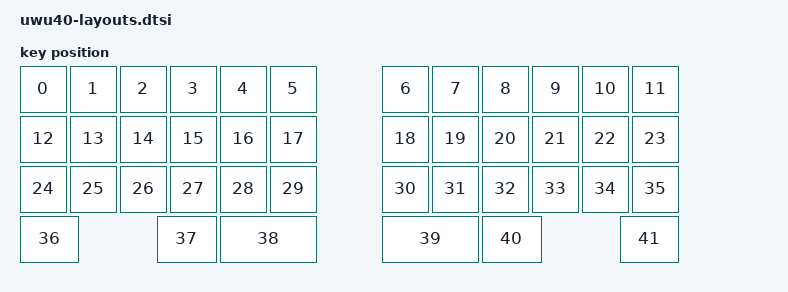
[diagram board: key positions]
#include <physical_layouts.dtsi>

/ {
  chosen {
    zmk,physical-layout = &default_layout;
  };

  default_layout: layout {
    compatible = "zmk,physical-layout";
    display-name = "UwU40";
    transform = <&default_transform>;
        keys  //                     w   h    x    y     rot    rx    ry
            = <&key_physical_attrs 100 100    0    0       0     0     0>
            , <&key_physical_attrs 100 100  100    0       0     0     0>
            , <&key_physical_attrs 100 100  200    0       0     0     0>
            , <&key_physical_attrs 100 100  300    0       0     0     0>
            , <&key_physical_attrs 100 100  400    0       0     0     0>
            , <&key_physical_attrs 100 100  500    0       0     0     0>
            , <&key_physical_attrs 100 100  725    0       0     0     0>
            , <&key_physical_attrs 100 100  825    0       0     0     0>
            , <&key_physical_attrs 100 100  925    0       0     0     0>
            , <&key_physical_attrs 100 100 1025    0       0     0     0>
            , <&key_physical_attrs 100 100 1125    0       0     0     0>
            , <&key_physical_attrs 100 100 1225    0       0     0     0>
            , <&key_physical_attrs 100 100    0  100       0     0     0>
            , <&key_physical_attrs 100 100  100  100       0     0     0>
            , <&key_physical_attrs 100 100  200  100       0     0     0>
            , <&key_physical_attrs 100 100  300  100       0     0     0>
            , <&key_physical_attrs 100 100  400  100       0     0     0>
            , <&key_physical_attrs 100 100  500  100       0     0     0>
            , <&key_physical_attrs 100 100  725  100       0     0     0>
            , <&key_physical_attrs 100 100  825  100       0     0     0>
            , <&key_physical_attrs 100 100  925  100       0     0     0>
            , <&key_physical_attrs 100 100 1025  100       0     0     0>
            , <&key_physical_attrs 100 100 1125  100       0     0     0>
            , <&key_physical_attrs 100 100 1225  100       0     0     0>
            , <&key_physical_attrs 100 100    0  200       0     0     0>
            , <&key_physical_attrs 100 100  100  200       0     0     0>
            , <&key_physical_attrs 100 100  200  200       0     0     0>
            , <&key_physical_attrs 100 100  300  200       0     0     0>
            , <&key_physical_attrs 100 100  400  200       0     0     0>
            , <&key_physical_attrs 100 100  500  200       0     0     0>
            , <&key_physical_attrs 100 100  725  200       0     0     0>
            , <&key_physical_attrs 100 100  825  200       0     0     0>
            , <&key_physical_attrs 100 100  925  200       0     0     0>
            , <&key_physical_attrs 100 100 1025  200       0     0     0>
            , <&key_physical_attrs 100 100 1125  200       0     0     0>
            , <&key_physical_attrs 100 100 1225  200       0     0     0>
            , <&key_physical_attrs 125 100    0  300       0     0     0>
            , <&key_physical_attrs 125 100  275  300       0     0     0>
            , <&key_physical_attrs 200 100  400  300       0     0     0>
            , <&key_physical_attrs 200 100  725  300       0     0     0>
            , <&key_physical_attrs 125 100  925  300       0     0     0>
            , <&key_physical_attrs 125 100 1200  300       0     0     0>
            ;
    };
};
